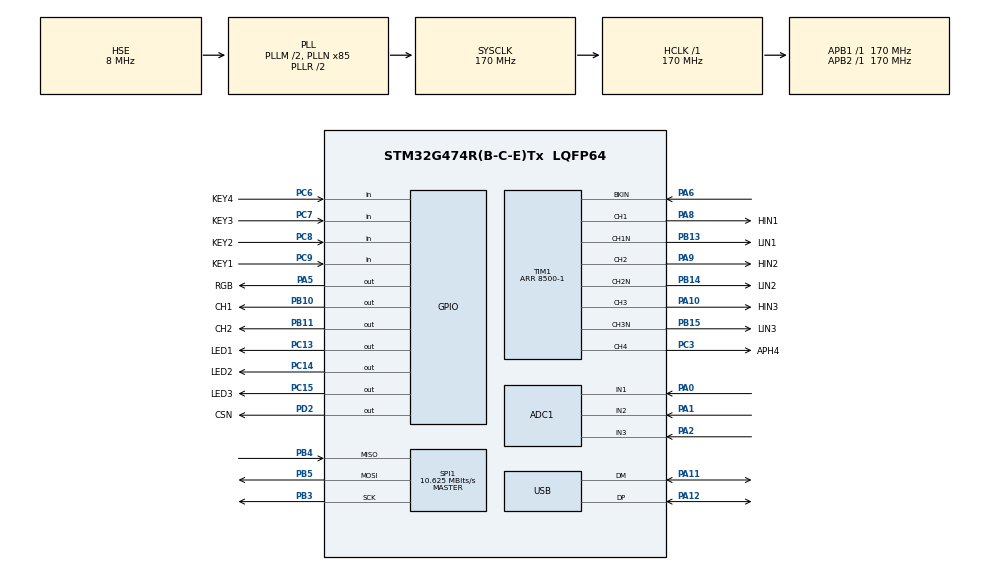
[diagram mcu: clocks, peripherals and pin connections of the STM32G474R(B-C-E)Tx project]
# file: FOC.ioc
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ADC1.Channel-1\#ChannelRegularConversion=ADC_CHANNEL_1
ADC1.EnableInjectedConversion=ENABLE
ADC1.ExternalTrigInjecConv=ADC_EXTERNALTRIGINJEC_T1_CC4
ADC1.ExternalTrigInjecConvEdge=ADC_EXTERNALTRIGINJECCONV_EDGE_FALLING
ADC1.InjNumberOfConversion=3
ADC1.InjectedChannel-2\#ChannelInjectedConversion=ADC_CHANNEL_1
ADC1.InjectedChannel-3\#ChannelInjectedConversion=ADC_CHANNEL_2
ADC1.InjectedChannel-4\#ChannelInjectedConversion=ADC_CHANNEL_3
ADC1.InjectedOffsetNumber-2\#ChannelInjectedConversion=ADC_OFFSET_NONE
ADC1.InjectedOffsetNumber-3\#ChannelInjectedConversion=ADC_OFFSET_NONE
ADC1.InjectedOffsetNumber-4\#ChannelInjectedConversion=ADC_OFFSET_NONE
ADC1.InjectedRank-2\#ChannelInjectedConversion=1
ADC1.InjectedRank-3\#ChannelInjectedConversion=2
ADC1.InjectedRank-4\#ChannelInjectedConversion=3
ADC1.InjectedSamplingTime-2\#ChannelInjectedConversion=ADC_SAMPLETIME_2CYCLES_5
ADC1.InjectedSamplingTime-3\#ChannelInjectedConversion=ADC_SAMPLETIME_2CYCLES_5
ADC1.InjectedSamplingTime-4\#ChannelInjectedConversion=ADC_SAMPLETIME_2CYCLES_5
ADC1.NbrOfConversionFlag=1
ADC1.OffsetNumber-1\#ChannelRegularConversion=ADC_OFFSET_NONE
ADC1.Rank-1\#ChannelRegularConversion=1
ADC1.Rank1_Channel=ADC_CHANNEL_1
ADC1.Rank2_Channel=ADC_CHANNEL_2
ADC1.Rank3_Channel=ADC_CHANNEL_3
ADC1.SamplingTime-1\#ChannelRegularConversion=ADC_SAMPLETIME_2CYCLES_5
ADC1.master=1
Mcu.Family=STM32G4
Mcu.Name=STM32G474R(B-C-E)Tx
Mcu.Package=LQFP64
NVIC.ADC1_2_IRQn=true\:0\:0\:false\:false\:true\:true\:true\:true
NVIC.PriorityGroup=NVIC_PRIORITYGROUP_4
NVIC.SPI1_IRQn=true\:0\:0\:false\:false\:true\:true\:true\:true
NVIC.TIM1_UP_TIM16_IRQn=true\:0\:0\:false\:false\:true\:true\:true\:true
NVIC.TIM3_IRQn=true\:1\:0\:true\:false\:true\:true\:true\:true
NVIC.USB_LP_IRQn=true\:0\:0\:false\:false\:true\:false\:true\:true
PA0.Mode=IN1-Single-Ended
PA0.Signal=ADC1_IN1
PA1.Mode=IN2-Single-Ended
PA1.Signal=ADC1_IN2
PA10.GPIO_Label=HIN3
PA10.Signal=S_TIM1_CH3
PA11.Mode=Device
PA11.Signal=USB_DM
PA12.Mode=Device
PA12.Signal=USB_DP
PA13.Mode=Serial_Wire
PA13.Signal=SYS_JTMS-SWDIO
PA14.Mode=Serial_Wire
PA14.Signal=SYS_JTCK-SWCLK
PA2.Mode=IN3-Single-Ended
PA2.Signal=ADC1_IN3
PA5.GPIO_Label=RGB
PA5.Signal=GPIO_Output
PA6.Mode=Activate-Break-Input
PA6.Signal=TIM1_BKIN
PA8.GPIO_Label=HIN1
PA8.Signal=S_TIM1_CH1
PA9.GPIO_Label=HIN2
PA9.Signal=S_TIM1_CH2
PB10.GPIO_Label=CH1
PB10.Signal=GPIO_Output
PB11.GPIO_Label=CH2
PB11.Signal=GPIO_Output
PB13.GPIO_Label=LIN1
PB13.Mode=PWM Generation1 CH1 CH1N
PB13.Signal=TIM1_CH1N
PB14.GPIO_Label=LIN2
PB14.Mode=PWM Generation2 CH2 CH2N
PB14.Signal=TIM1_CH2N
PB15.GPIO_Label=LIN3
PB15.Mode=PWM Generation3 CH3 CH3N
PB15.Signal=TIM1_CH3N
PB3.Mode=Full_Duplex_Master
PB3.Signal=SPI1_SCK
PB4.Mode=Full_Duplex_Master
PB4.Signal=SPI1_MISO
PB5.Mode=Full_Duplex_Master
PB5.Signal=SPI1_MOSI
PC13.GPIO_Label=LED1
PC13.Signal=GPIO_Output
PC14-OSC32_IN.GPIO_Label=LED2
PC14-OSC32_IN.Signal=GPIO_Output
PC15-OSC32_OUT.GPIO_Label=LED3
PC15-OSC32_OUT.Signal=GPIO_Output
PC3.GPIO_Label=APH4
PC3.Signal=S_TIM1_CH4
PC6.GPIO_Label=KEY4
PC6.GPIO_PuPd=GPIO_NOPULL
PC6.Signal=GPIO_Input
PC7.GPIO_Label=KEY3
PC7.GPIO_PuPd=GPIO_NOPULL
PC7.Signal=GPIO_Input
PC8.GPIO_Label=KEY2
PC8.GPIO_PuPd=GPIO_NOPULL
PC8.Signal=GPIO_Input
PC9.GPIO_Label=KEY1
PC9.GPIO_PuPd=GPIO_NOPULL
PC9.Signal=GPIO_Input
PD2.GPIO_Label=CSN
PD2.Signal=GPIO_Output
PF0-OSC_IN.Mode=HSE-External-Oscillator
PF0-OSC_IN.Signal=RCC_OSC_IN
PF1-OSC_OUT.Mode=HSE-External-Oscillator
PF1-OSC_OUT.Signal=RCC_OSC_OUT
ProjectManager.HeapSize=0x200
ProjectManager.StackSize=0x400
ProjectManager.TargetToolchain=MDK-ARM V5.32
RCC.ADC12Freq_Value=170000000
RCC.ADC345Freq_Value=170000000
RCC.AHBFreq_Value=170000000
RCC.APB1Freq_Value=170000000
RCC.APB1TimFreq_Value=170000000
RCC.APB2Freq_Value=170000000
RCC.APB2TimFreq_Value=170000000
RCC.CK48CLockSelection=RCC_USBCLKSOURCE_HSI48
RCC.CortexFreq_Value=170000000
RCC.EXTERNAL_CLOCK_VALUE=12288000
RCC.HCLKFreq_Value=170000000
RCC.HSE_VALUE=8000000
RCC.HSI48_VALUE=48000000
RCC.HSI_VALUE=16000000
RCC.LSE_VALUE=32768
RCC.PLLM=RCC_PLLM_DIV2
RCC.PLLN=85
RCC.PLLSourceVirtual=RCC_PLLSOURCE_HSE
RCC.SYSCLKFreq_VALUE=170000000
RCC.SYSCLKSource=RCC_SYSCLKSOURCE_PLLCLK
RCC.USBFreq_Value=48000000
RCC.VCOOutputFreq_Value=340000000
SH.S_TIM1_CH1.0=TIM1_CH1,PWM Generation1 CH1 CH1N
SH.S_TIM1_CH2.0=TIM1_CH2,PWM Generation2 CH2 CH2N
SH.S_TIM1_CH3.0=TIM1_CH3,PWM Generation3 CH3 CH3N
SH.S_TIM1_CH4.0=TIM1_CH4,PWM Generation4 CH4
SPI1.BaudRatePrescaler=SPI_BAUDRATEPRESCALER_16
SPI1.CLKPhase=SPI_PHASE_2EDGE
SPI1.CLKPolarity=SPI_POLARITY_HIGH
SPI1.CalculateBaudRate=10.625 MBits/s
SPI1.DataSize=SPI_DATASIZE_16BIT
SPI1.Direction=SPI_DIRECTION_2LINES
SPI1.Mode=SPI_MODE_MASTER
SPI1.VirtualType=VM_MASTER
TIM1.AutoReloadPreload=TIM_AUTORELOAD_PRELOAD_ENABLE
TIM1.AutomaticOutput=TIM_AUTOMATICOUTPUT_ENABLE
TIM1.Channel-PWM\ Generation1\ CH1\ CH1N=TIM_CHANNEL_1
TIM1.Channel-PWM\ Generation2\ CH2\ CH2N=TIM_CHANNEL_2
TIM1.Channel-PWM\ Generation3\ CH3\ CH3N=TIM_CHANNEL_3
TIM1.Channel-PWM\ Generation4\ CH4=TIM_CHANNEL_4
TIM1.CounterMode=TIM_COUNTERMODE_CENTERALIGNED1
TIM1.PeriodNoDither=8500-1
TIM3.PeriodNoDither=1000-1
TIM3.Prescaler=170-1
USB_DEVICE.CLASS_NAME_FS=CDC
USB_DEVICE.VirtualMode=Cdc
USB_DEVICE.VirtualModeFS=Cdc_FS
VP_SYS_VS_DBSignals.Mode=DisableDeadBatterySignals
VP_TIM1_VS_ClockSourceINT.Mode=Internal
VP_TIM3_VS_ClockSourceINT.Mode=Internal
VP_USB_DEVICE_VS_USB_DEVICE_CDC_FS.Mode=CDC_FS
board=custom

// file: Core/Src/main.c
/* USER CODE BEGIN Header */
/**
  ******************************************************************************
  * @file           : main.c
  * @brief          : Main program body
  ******************************************************************************
  * @attention
  *
  * Copyright (c) 2024 STMicroelectronics.
  * All rights reserved.
  *
  * This software is licensed under terms that can be found in the LICENSE file
  * in the root directory of this software component.
  * If no LICENSE file comes with this software, it is provided AS-IS.
  *
  ******************************************************************************
  */
/* USER CODE END Header */
#include "main.h"
#include "adc.h"
#include "spi.h"
#include "tim.h"
#include "usb_device.h"
#include "gpio.h"

/* USER CODE BEGIN Includes */
#include "key_app.h"
#include "key.h"

#include "debug_printf.h"
#include "vofa.h"

#include "string.h"
#include "math.h"

#include "trans.h"
#include "mt6816.h"
#include "foc.h"
#include "pid.h"
/* USER CODE END Includes */

/* USER CODE BEGIN PV */
ButtonState button = WAITING;
const char* buttonStateStrings[] = {
    "WAITING",              // 等待（空闲状态）
    "BUTTON1_SHORT_PRESS",  // 按键1短按
    "BUTTON1_LONG_PRESS",   // 按键1长按
    "BUTTON2_SHORT_PRESS",  // 按键2短按
    "BUTTON2_LONG_PRESS",   // 按键2长按
    "BUTTON3_SHORT_PRESS",  // 按键3短按
    "BUTTON3_LONG_PRESS",   // 按键3长按
    "BUTTON4_SHORT_PRESS",  // 按键4短按
    "BUTTON4_LONG_PRESS"    // 按键4长按
};

float foc_angle;
volatile float Ia_offset, Ib_offset, Ic_offset;

int foc_start_flag = 0;

volatile float mt6816_angle;

Pid_Controller_t GI_D;
Pid_Controller_t GI_Q;
Pid_Controller_t GVEL;
Pid_Controller_t GPOS;
//extern float theta_angle;
//extern float Vq;
//extern float Tcmp1, Tcmp2, Tcmp3;
/* USER CODE END PV */

void SystemClock_Config(void);
/* USER CODE BEGIN PFP */
void svpwm(int angle, float m);
void ADC_Count_Caloffset();
/* USER CODE END PFP */

/* USER CODE BEGIN 0 */
/*
* 测相电阻  0.0925  Ω
*   黑白 0.186    0.187/0.185
*   黑灰 0.185    0.185
*   白灰          0.185
* 测相电感
*   q               25.2545微亨
*     50.076
*     50.454
*     50.509
*   d               20.281
*       40.873
*       40.562
*       40.748
*   黑白
*
* 测好了，然后决定用现成的
*
*/

/* USER CODE END 0 */

int main(void)
{

  /* MCU Configuration--------------------------------------------------------*/

  /* Reset of all peripherals, Initializes the Flash interface and the Systick. */
  HAL_Init();

  /* Configure the system clock */
  SystemClock_Config();

  /* Initialize all configured peripherals */
  MX_GPIO_Init();
  MX_TIM3_Init();
  MX_USB_Device_Init();
  MX_TIM1_Init();
  MX_ADC1_Init();
  MX_SPI1_Init();
  /* USER CODE BEGIN 2 */
	HAL_TIM_Base_Start_IT(&htim3);

  Key_Init();
  Add_Key_demo();

  HAL_TIM_PWM_Start(&htim1, TIM_CHANNEL_1);
  HAL_TIM_PWM_Start(&htim1, TIM_CHANNEL_2);
  HAL_TIM_PWM_Start(&htim1, TIM_CHANNEL_3);
  HAL_TIM_PWM_Start(&htim1, TIM_CHANNEL_4);

  HAL_TIMEx_PWMN_Start(&htim1, TIM_CHANNEL_1);
  HAL_TIMEx_PWMN_Start(&htim1, TIM_CHANNEL_2);
  HAL_TIMEx_PWMN_Start(&htim1, TIM_CHANNEL_3);

  __HAL_TIM_SET_COMPARE(&htim1, TIM_CHANNEL_4, __HAL_TIM_GET_AUTORELOAD(&htim1) - 10);
  HAL_ADCEx_InjectedStart_IT(&hadc1);
  ADC_Count_Caloffset();

  MT6816_SPI_Signal_Init();
  PID_param_init();

  Pid_Init(&GI_D, GI_D_KP, GI_D_KI, GI_D_KD, GI_D_KIS, 1.0f / GI_D_FREQUENCY, GI_D_RANGE);
  Pid_Init(&GI_Q, GI_Q_KP, GI_Q_KI, GI_Q_KD, GI_Q_KIS, 1.0f / GI_D_FREQUENCY, GI_Q_RANGE);
  Pid_Init(&GVEL, GVEL_KP, GVEL_KI, GVEL_KD, GVEL_KIS, 1.0f / GVEL_FREQUENCY, GVEL_RANGE);
  Pid_Init(&GPOS, GPOS_KP, GPOS_KI, GPOS_KD, GPOS_KIS, 1.0f / GPOS_FREQUENCY, GPOS_RANGE);
  foc_start_flag = 1;

  my_printf("setup done\r\n");
  /* USER CODE END 2 */

  /* Infinite loop */
  /* USER CODE BEGIN WHILE */
  while (1)
  {

          vofa_demo();

    /* USER CODE END WHILE */

    /* USER CODE BEGIN 3 */
          //如果波形异常，可能是这俩语句占用时间
      handleButtonState();
      task_run_key();
  }
  /* USER CODE END 3 */
}

void SystemClock_Config(void)
{
  RCC_OscInitTypeDef RCC_OscInitStruct = {0};
  RCC_ClkInitTypeDef RCC_ClkInitStruct = {0};

  /** Configure the main internal regulator output voltage
  */
  HAL_PWREx_ControlVoltageScaling(PWR_REGULATOR_VOLTAGE_SCALE1_BOOST);

  /** Initializes the RCC Oscillators according to the specified parameters
  * in the RCC_OscInitTypeDef structure.
  */
  RCC_OscInitStruct.OscillatorType = RCC_OSCILLATORTYPE_HSI48|RCC_OSCILLATORTYPE_HSE;
  RCC_OscInitStruct.HSEState = RCC_HSE_ON;
  RCC_OscInitStruct.HSI48State = RCC_HSI48_ON;
  RCC_OscInitStruct.PLL.PLLState = RCC_PLL_ON;
  RCC_OscInitStruct.PLL.PLLSource = RCC_PLLSOURCE_HSE;
  RCC_OscInitStruct.PLL.PLLM = RCC_PLLM_DIV2;
  RCC_OscInitStruct.PLL.PLLN = 85;
  RCC_OscInitStruct.PLL.PLLP = RCC_PLLP_DIV2;
  RCC_OscInitStruct.PLL.PLLQ = RCC_PLLQ_DIV2;
  RCC_OscInitStruct.PLL.PLLR = RCC_PLLR_DIV2;
  if (HAL_RCC_OscConfig(&RCC_OscInitStruct) != HAL_OK)
  {
    Error_Handler();
  }

  /** Initializes the CPU, AHB and APB buses clocks
  */
  RCC_ClkInitStruct.ClockType = RCC_CLOCKTYPE_HCLK|RCC_CLOCKTYPE_SYSCLK
                              |RCC_CLOCKTYPE_PCLK1|RCC_CLOCKTYPE_PCLK2;
  RCC_ClkInitStruct.SYSCLKSource = RCC_SYSCLKSOURCE_PLLCLK;
  RCC_ClkInitStruct.AHBCLKDivider = RCC_SYSCLK_DIV1;
  RCC_ClkInitStruct.APB1CLKDivider = RCC_HCLK_DIV1;
  RCC_ClkInitStruct.APB2CLKDivider = RCC_HCLK_DIV1;

  if (HAL_RCC_ClockConfig(&RCC_ClkInitStruct, FLASH_LATENCY_4) != HAL_OK)
  {
    Error_Handler();
  }
}

/* USER CODE BEGIN 4 */
    int16_t a, b, c, bus;
    uint16_t Ia_raw, Ib_raw, Ic_raw;
void ADC_Count_Caloffset()
{

    for (int i = 0; i < 16; ++i)
    {
        HAL_Delay(1);
        Ia_raw = HAL_ADCEx_InjectedGetValue(&hadc1, ADC_INJECTED_RANK_1);
        Ib_raw = HAL_ADCEx_InjectedGetValue(&hadc1, ADC_INJECTED_RANK_2);
        Ic_raw = HAL_ADCEx_InjectedGetValue(&hadc1, ADC_INJECTED_RANK_3);
        a += Ia_raw;
        b += Ib_raw;
        c += Ic_raw;
    }
    //右移四位，相当于 ÷16
    Ia_offset = a / 16.0f;
    Ib_offset = b / 16.0f;
    Ic_offset = c / 16.0f;

    my_printf("Ia_offset = %f, Ib_offset = %f, Ic_offset = %f\r\n", Ia_offset, Ib_offset, Ic_offset);
}

float ch1, ch2, ch3;						//通道1、2、3的装载值
void svpwm(int angle, float m)
{
	theta_angle = angle;
	Vq = m;

    tran_angle(theta_angle);                //角度转弧度
    sin_cos_val();                          //三角变换
    anti_park_transf();                     //旋转转静止坐标轴
    svpwm_calc();                           //SVPWM转三相

    TIM1->CCR1 = (uint16_t)(Tcmp1);
    TIM1->CCR2 = (uint16_t)(Tcmp2);
    TIM1->CCR3 = (uint16_t)(Tcmp3);
}

volatile float adc1_current, adc2_current, adc3_current,test_acc_angle = 0.5;
void HAL_ADCEx_InjectedConvCpltCallback(ADC_HandleTypeDef* hadc)
{
	if (hadc->Instance == ADC1)
	{
        HAL_GPIO_WritePin(CH1_GPIO_Port, CH1_Pin, GPIO_PIN_SET);
        //电流采样
        adc1_current = HAL_ADCEx_InjectedGetValue(&hadc1, ADC_INJECTED_RANK_1);
        adc2_current = HAL_ADCEx_InjectedGetValue(&hadc1, ADC_INJECTED_RANK_2);
        adc3_current = HAL_ADCEx_InjectedGetValue(&hadc1, ADC_INJECTED_RANK_3);
        //* 3.3/4096/0.1    0.008056640625
        //Ia = (float)(adc1_current - Ia_offset) * ADC_REF / ADC_12BIT / (CURRENT_RS * OPAMP_AU);
        //Ic = (float)(adc2_current - Ib_offset) * ADC_REF / ADC_12BIT / (CURRENT_RS * OPAMP_AU);
        //Ib = (float)(adc3_current - Ic_offset) * ADC_REF / ADC_12BIT / (CURRENT_RS * OPAMP_AU);

        //Ia = -Ia;
        //Ib = -Ib;
        //Ic = -Ic;

        Ia = -(float)(adc1_current - Ia_offset) * 0.008056640625f;
        Ib = -(float)(adc2_current - Ib_offset) * 0.008056640625f;
        Ic = -(float)(adc3_current - Ic_offset) * 0.008056640625f;

        //FOC_RUN
        if (foc_start_flag)
        {
						//HAL_GPIO_WritePin(CH2_GPIO_Port, CH2_Pin, GPIO_PIN_SET);
            VEL_Voltage_Open_Loop();
             //观测电流
//             clark_transf();
//             park_transf();
                        //Position_Closed_Loop();
						//HAL_GPIO_WritePin(CH2_GPIO_Port, CH2_Pin, GPIO_PIN_RESET);
        }
        HAL_GPIO_WritePin(CH1_GPIO_Port, CH1_Pin, GPIO_PIN_RESET);

	}
}
void HAL_TIM_PeriodElapsedCallback(TIM_HandleTypeDef* htim)
{
    if (htim == &htim3)
    {
        task_listen_key();
    }
}

/* USER CODE END 4 */

void Error_Handler(void)
{
  /* USER CODE BEGIN Error_Handler_Debug */
  /* User can add his own implementation to report the HAL error return state */
  __disable_irq();
  my_printf("Error_Handler\r\n");
  while (1)
  {
  }
  /* USER CODE END Error_Handler_Debug */
}
